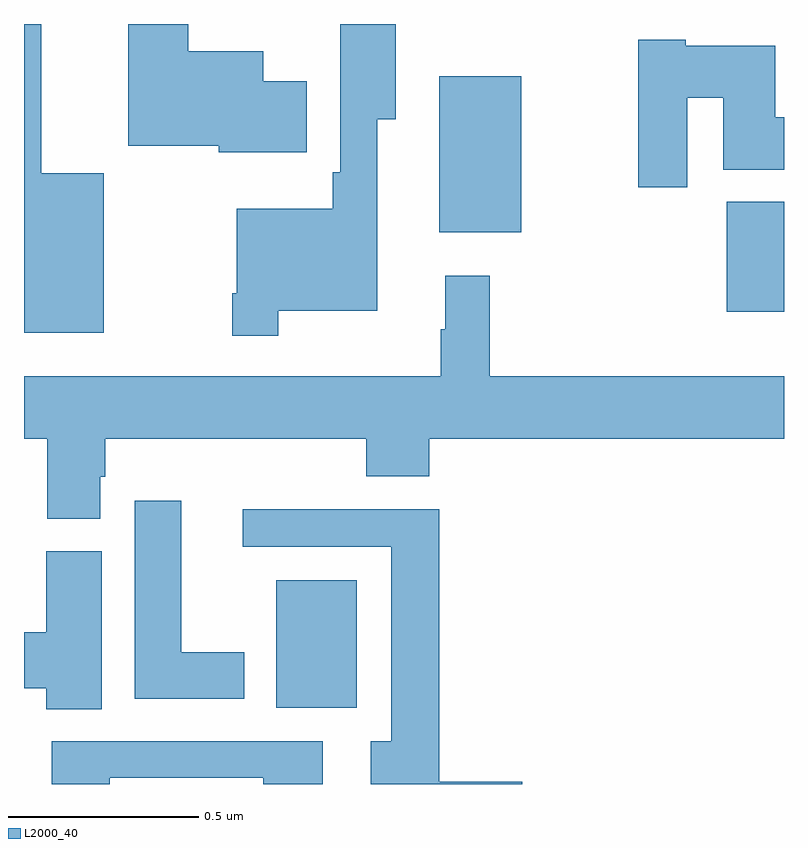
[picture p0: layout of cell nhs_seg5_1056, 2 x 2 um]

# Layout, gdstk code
import gdstk
lib = gdstk.Library(unit=1e-6, precision=1e-09)
def R(c, l, rs):  # rectangles x0, y0, x1, y1
    for r in rs: c.add(gdstk.rectangle(r[:2], r[2:], *l))
def P(c, l, *ps):  # polygons
    for p in ps: c.add(gdstk.Polygon(p, *l))
L2000_40 = (2000, 40)

nhs_seg5_1056 = lib.new_cell('nhs_seg5_1056')
R(nhs_seg5_1056, L2000_40, [(124.664,908,124.876,908.335), (125.849,909.042,126,909.331), (125.093,909.251,125.308,909.661)])
P(nhs_seg5_1056, L2000_40, [(124.744,909.649),(124.63,909.649),(124.63,909.727),(124.432,909.727),(124.432,909.799),(124.274,909.799),(124.274,909.479),(124.512,909.479),(124.512,909.461),(124.744,909.461)],
  [(124.21,909.406),(124.045,909.406),(124.045,909.799),(124,909.799),(124,908.987),(124.21,908.987)],
  [(124.669,909.044),(124.93,909.044),(124.93,909.548),(124.978,909.548),(124.978,909.799),(124.832,909.799),(124.832,909.409),(124.813,909.409),(124.813,909.313),(124.56,909.313),(124.56,909.091),(124.548,909.091),(124.548,908.979),(124.669,908.979)],
  [(125.746,909.605),(125.84,909.605),(125.84,909.416),(126,909.416),(126,909.554),(125.977,909.554),(125.977,909.742),(125.742,909.742),(125.742,909.757),(125.617,909.757),(125.617,909.369),(125.746,909.369)],
  [(124.201,908.607),(124.214,908.607),(124.214,908.708),(124.901,908.708),(124.901,908.609),(125.066,908.609),(125.066,908.708),(126,908.708),(126,908.872),(125.225,908.872),(125.225,909.136),(125.108,909.136),(125.108,908.996),(125.097,908.996),(125.097,908.872),(124,908.872),(124,908.708),(124.061,908.708),(124.061,908.497),(124.201,908.497)],
  [(124.579,908.146),(124.414,908.146),(124.414,908.545),(124.292,908.545),(124.292,908.024),(124.579,908.024)],
  [(125.311,907.805),(125.093,907.805),(125.093,908.522),(124.575,908.522),(124.575,908.424),(124.967,908.424),(124.967,907.912),(124.913,907.912),(124.913,907.799),(125.311,907.799)],
  [(124.204,908.412),(124.058,908.412),(124.058,908.198),(124,908.198),(124,908.051),(124.058,908.051),(124.058,907.996),(124.204,907.996)],
  [(124.225,907.815),(124.63,907.815),(124.63,907.799),(124.786,907.799),(124.786,907.911),(124.073,907.911),(124.073,907.799),(124.225,907.799)])

lib.write_gds('nhs_seg5_1056.gds')
